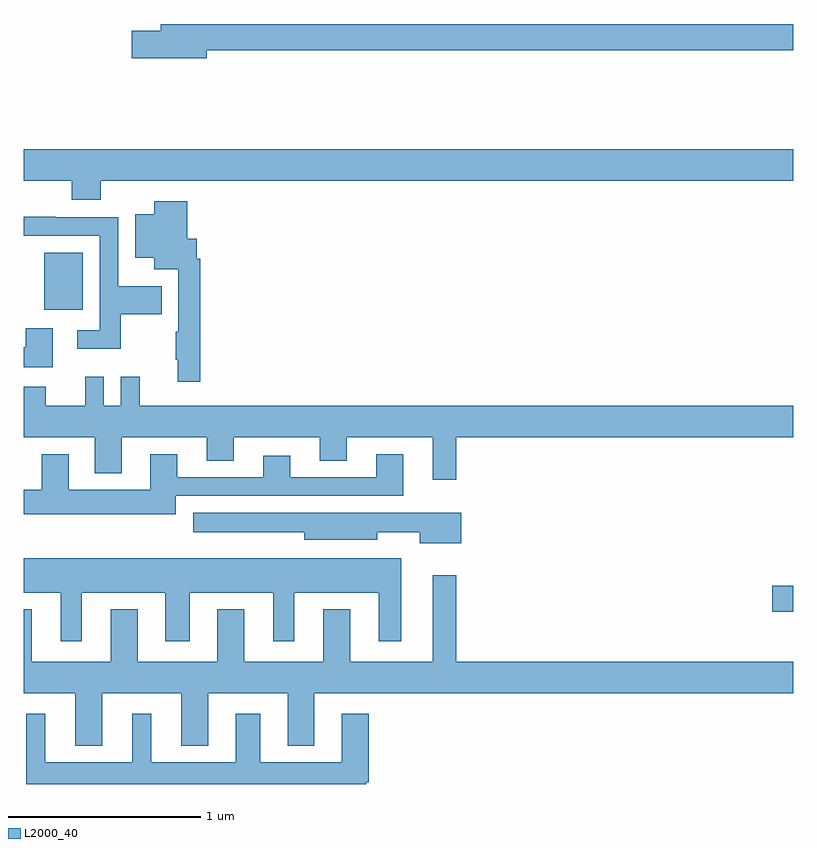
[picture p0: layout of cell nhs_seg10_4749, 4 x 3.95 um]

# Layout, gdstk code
import gdstk
lib = gdstk.Library(unit=1e-6, precision=1e-09)
def R(c, l, rs):  # rectangles x0, y0, x1, y1
    for r in rs: c.add(gdstk.rectangle(r[:2], r[2:], *l))
def P(c, l, *ps):  # polygons
    for p in ps: c.add(gdstk.Polygon(p, *l))
L2000_40 = (2000, 40)

nhs_seg10_4749 = lib.new_cell('nhs_seg10_4749')
R(nhs_seg10_4749, L2000_40, [(386.892,1311.395,387,1311.53), (383.105,1312.967,383.305,1313.263)])
P(nhs_seg10_4749, L2000_40, [(383.95,1314.316),(387,1314.316),(387,1314.452),(383.711,1314.452),(383.711,1314.416),(383.562,1314.416),(383.562,1314.274),(383.95,1314.274)],
  [(383.401,1313.636),(387,1313.636),(387,1313.8),(383,1313.8),(383,1313.636),(383.249,1313.636),(383.249,1313.537),(383.401,1313.537)],
  [(383.918,1313.231),(383.898,1313.231),(383.898,1313.335),(383.849,1313.335),(383.849,1313.53),(383.678,1313.53),(383.678,1313.464),(383.579,1313.464),(383.579,1313.237),(383.678,1313.237),(383.678,1313.177),(383.802,1313.177),(383.802,1312.853),(383.79,1312.853),(383.79,1312.705),(383.801,1312.705),(383.801,1312.593),(383.918,1312.593)],
  [(383.503,1312.942),(383.717,1312.942),(383.717,1313.089),(383.49,1313.089),(383.49,1313.448),(383.165,1313.448),(383.165,1313.45),(383,1313.45),(383,1313.352),(383.394,1313.352),(383.394,1312.86),(383.277,1312.86),(383.277,1312.763),(383.503,1312.763)],
  [(383.149,1312.87),(383.009,1312.87),(383.009,1312.771),(383,1312.771),(383,1312.667),(383.149,1312.667)],
  [(385.249,1312.304),(387,1312.304),(387,1312.468),(383.603,1312.468),(383.603,1312.618),(383.505,1312.618),(383.505,1312.468),(383.415,1312.468),(383.415,1312.618),(383.318,1312.618),(383.318,1312.468),(383.113,1312.468),(383.113,1312.567),(383,1312.567),(383,1312.304),(383.369,1312.304),(383.369,1312.115),(383.509,1312.115),(383.509,1312.304),(383.951,1312.304),(383.951,1312.18),(384.091,1312.18),(384.091,1312.304),(384.539,1312.304),(384.539,1312.18),(384.679,1312.18),(384.679,1312.304),(385.127,1312.304),(385.127,1312.083),(385.249,1312.083)],
  [(383.791,1311.999),(384.973,1311.999),(384.973,1312.216),(384.833,1312.216),(384.833,1312.095),(384.385,1312.095),(384.385,1312.207),(384.245,1312.207),(384.245,1312.095),(383.797,1312.095),(383.797,1312.216),(383.657,1312.216),(383.657,1312.03),(383.233,1312.03),(383.233,1312.216),(383.093,1312.216),(383.093,1312.03),(383,1312.03),(383,1311.902),(383.791,1311.902)],
  [(385.273,1311.91),(383.88,1311.91),(383.88,1311.809),(384.458,1311.809),(384.458,1311.77),(384.838,1311.77),(384.838,1311.809),(385.058,1311.809),(385.058,1311.752),(385.273,1311.752)],
  [(383.302,1311.494),(383.735,1311.494),(383.735,1311.243),(383.863,1311.243),(383.863,1311.494),(384.296,1311.494),(384.296,1311.243),(384.406,1311.243),(384.406,1311.494),(384.845,1311.494),(384.845,1311.243),(384.961,1311.243),(384.961,1311.673),(383,1311.673),(383,1311.494),(383.192,1311.494),(383.192,1311.243),(383.302,1311.243)],
  [(383.407,1310.972),(383.819,1310.972),(383.819,1310.699),(383.959,1310.699),(383.959,1310.972),(384.371,1310.972),(384.371,1310.699),(384.511,1310.699),(384.511,1310.972),(387,1310.972),(387,1311.136),(385.249,1311.136),(385.249,1311.586),(385.127,1311.586),(385.127,1311.136),(384.697,1311.136),(384.697,1311.409),(384.557,1311.409),(384.557,1311.136),(384.145,1311.136),(384.145,1311.409),(384.005,1311.409),(384.005,1311.136),(383.593,1311.136),(383.593,1311.409),(383.453,1311.409),(383.453,1311.136),(383.041,1311.136),(383.041,1311.409),(383,1311.409),(383,1310.972),(383.267,1310.972),(383.267,1310.699),(383.407,1310.699)],
  [(384.781,1310.51),(384.794,1310.51),(384.794,1310.866),(384.653,1310.866),(384.653,1310.614),(384.229,1310.614),(384.229,1310.866),(384.101,1310.866),(384.101,1310.614),(383.662,1310.614),(383.662,1310.866),(383.564,1310.866),(383.564,1310.614),(383.11,1310.614),(383.11,1310.866),(383.012,1310.866),(383.012,1310.5),(384.781,1310.5)])

lib.write_gds('nhs_seg10_4749.gds')
